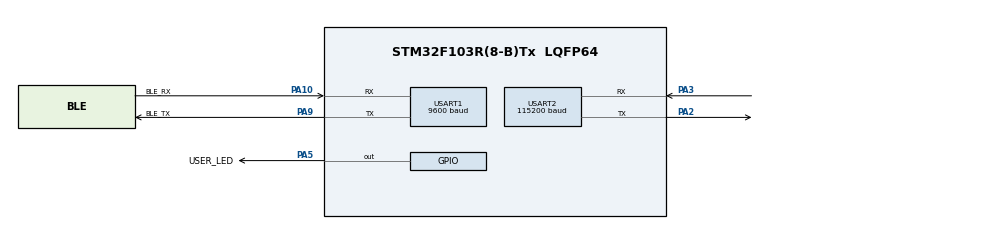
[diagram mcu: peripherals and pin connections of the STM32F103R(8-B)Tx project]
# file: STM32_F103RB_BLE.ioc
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Mcu.Family=STM32F1
Mcu.Name=STM32F103R(8-B)Tx
Mcu.Package=LQFP64
NVIC.PriorityGroup=NVIC_PRIORITYGROUP_4
NVIC.USART1_IRQn=true\:0\:0\:false\:false\:true\:true\:true\:true
NVIC.USART2_IRQn=true\:0\:0\:false\:false\:true\:true\:true\:true
PA10.GPIO_Label=BLE_RX
PA10.Mode=Asynchronous
PA10.Signal=USART1_RX
PA2.Mode=Asynchronous
PA2.Signal=USART2_TX
PA3.Mode=Asynchronous
PA3.Signal=USART2_RX
PA5.GPIO_Label=USER_LED
PA5.Signal=GPIO_Output
PA9.GPIO_Label=BLE_TX
PA9.Mode=Asynchronous
PA9.Signal=USART1_TX
ProjectManager.HeapSize=0x200
ProjectManager.StackSize=0x400
ProjectManager.TargetToolchain=STM32CubeIDE
RCC.APB1Freq_Value=8000000
RCC.APB2Freq_Value=8000000
USART1.BaudRate=9600
USART1.VirtualMode=VM_ASYNC
USART2.BaudRate=115200
USART2.VirtualMode=VM_ASYNC
VP_SYS_VS_ND.Mode=No_Debug
board=custom

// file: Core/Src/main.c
/* USER CODE BEGIN Header */
/**
  ******************************************************************************
  * @file           : main.c
  * @brief          : Main program body
  ******************************************************************************
  * @attention
  *
  * Copyright (c) 2024 STMicroelectronics.
  * All rights reserved.
  *
  * This software is licensed under terms that can be found in the LICENSE file
  * in the root directory of this software component.
  * If no LICENSE file comes with this software, it is provided AS-IS.
  *
  ******************************************************************************
  */
/* USER CODE END Header */
#include "main.h"
#include "usart.h"
#include "gpio.h"
/* USER CODE BEGIN Includes */
#include <stdio.h>
#include <stdlib.h>
#include <string.h>
/* USER CODE END Includes */

/* USER CODE BEGIN PD */
#define BUFFER_SIZE 100 // Define the size of the buffer
#define BLEBUF_SIZE 40 // Define the size of the buffer
/* USER CODE END PD */

/* USER CODE BEGIN PV */
static uint32_t gBLECnt 	= 0;       // Counter for BLE messages
static uint32_t gGPIOState 	= 0;       // State of the GPIO pin
uint8_t rxIndex 			= 0;       // Current index for the buffer
char rxBuffer[BUFFER_SIZE]; 		   // Buffer for received data
char messageBuffer[BLEBUF_SIZE];
uint32_t messageIndex = 0;
uint8_t bBLEFlag =0;
extern UART_HandleTypeDef huart1;
/* USER CODE END PV */

void SystemClock_Config(void);
/* USER CODE BEGIN PFP */
typedef struct UserInfo
{
    float fCurrent;
    uint32_t iDuty;
    uint32_t iFrequency;
} UserInfo;

UserInfo gUserInfo = {0.0,0,0};
/* USER CODE END PFP */

/* USER CODE BEGIN 0 */
UserInfo parseMessage(char *messageBuffer)
{
    // Find the first occurrence of 'S' and 'E'
    char *start = strchr(messageBuffer, 'S');
    char *end = strchr(messageBuffer, 'E');

    // 2024-10-28, hjkim: Initialize with existing values
    UserInfo tempInfo = gUserInfo;

    // Check if both 'S' and 'E' exist and their positions are valid
    bBLEFlag = (start != NULL && end != NULL && start < end) ? 1 : 0;

    if(bBLEFlag == 0)
    {
        // 2024-10-28, hjkim: BLE message parsing error, discarding this data
    	return tempInfo;
    }

    if (bBLEFlag == 1)
    {
        // Parse Current value between 'c' and 'c'
        char *startCurrent = strchr(start, 'c');
        char *endCurrent = strchr(startCurrent + 1, 'c');
        if (startCurrent != NULL && endCurrent != NULL && endCurrent < end)
        {
            char currentStr[10] = {0};
            strncpy(currentStr, startCurrent + 1, endCurrent - startCurrent - 1);
            tempInfo.fCurrent = atof(currentStr);
        }

        // Parse Duty Cycle value between 'd' and 'd'
        char *startDuty = strchr(start, 'd');
        char *endDuty = strchr(startDuty + 1, 'd');
        if (startDuty != NULL && endDuty != NULL && endDuty < end)
        {
            char dutyStr[10] = {0};
            strncpy(dutyStr, startDuty + 1, endDuty - startDuty - 1);
            tempInfo.iDuty = (uint32_t)atoi(dutyStr);
        }

        // Parse Frequency value between 'f' and 'f'
        char *startFreq = strchr(start, 'f');
        char *endFreq = strchr(startFreq + 1, 'f');
        if (startFreq != NULL && endFreq != NULL && endFreq < end)
        {
            char freqStr[10] = {0};
            strncpy(freqStr, startFreq + 1, endFreq - startFreq - 1);
            tempInfo.iFrequency = (uint32_t)atoi(freqStr);
        }
    }
    return tempInfo;
}

/* USER CODE END 0 */

int main(void)
{

  /* MCU Configuration--------------------------------------------------------*/

  /* Reset of all peripherals, Initializes the Flash interface and the Systick. */
  HAL_Init();

  /* Configure the system clock */
  SystemClock_Config();

  /* Initialize all configured peripherals */
  MX_GPIO_Init();
  MX_USART2_UART_Init();
  MX_USART1_UART_Init();
  /* USER CODE BEGIN 2 */
  HAL_UART_Receive_IT(&huart1, (uint8_t *)&rxBuffer[rxIndex], 1);
  HAL_GPIO_WritePin(USER_LED_GPIO_Port, USER_LED_Pin, GPIO_PIN_RESET);
  /* USER CODE END 2 */

  /* Infinite loop */
  while (1)
  {

      /* USER CODE BEGIN 3 */
	  gUserInfo = parseMessage(messageBuffer);

      switch (gGPIOState)
      {
          case 1:
              HAL_GPIO_WritePin(USER_LED_GPIO_Port, USER_LED_Pin, GPIO_PIN_RESET);
              break;
          case 2:
              HAL_GPIO_WritePin(USER_LED_GPIO_Port, USER_LED_Pin, GPIO_PIN_SET);
              break;
          default:
              break;
      }
      HAL_Delay(500);
  }
  /* USER CODE END 3 */
}

void SystemClock_Config(void)
{
  RCC_OscInitTypeDef RCC_OscInitStruct = {0};
  RCC_ClkInitTypeDef RCC_ClkInitStruct = {0};

  /** Initializes the RCC Oscillators according to the specified parameters
  * in the RCC_OscInitTypeDef structure.
  */
  RCC_OscInitStruct.OscillatorType = RCC_OSCILLATORTYPE_HSI;
  RCC_OscInitStruct.HSIState = RCC_HSI_ON;
  RCC_OscInitStruct.HSICalibrationValue = RCC_HSICALIBRATION_DEFAULT;
  RCC_OscInitStruct.PLL.PLLState = RCC_PLL_NONE;
  if (HAL_RCC_OscConfig(&RCC_OscInitStruct) != HAL_OK)
  {
    Error_Handler();
  }

  /** Initializes the CPU, AHB and APB buses clocks
  */
  RCC_ClkInitStruct.ClockType = RCC_CLOCKTYPE_HCLK|RCC_CLOCKTYPE_SYSCLK
                              |RCC_CLOCKTYPE_PCLK1|RCC_CLOCKTYPE_PCLK2;
  RCC_ClkInitStruct.SYSCLKSource = RCC_SYSCLKSOURCE_HSI;
  RCC_ClkInitStruct.AHBCLKDivider = RCC_SYSCLK_DIV1;
  RCC_ClkInitStruct.APB1CLKDivider = RCC_HCLK_DIV1;
  RCC_ClkInitStruct.APB2CLKDivider = RCC_HCLK_DIV1;

  if (HAL_RCC_ClockConfig(&RCC_ClkInitStruct, FLASH_LATENCY_0) != HAL_OK)
  {
    Error_Handler();
  }
}

/* USER CODE BEGIN 4 */
void HAL_UART_RxCpltCallback(UART_HandleTypeDef *huart)
{
    if (huart->Instance == USART1)
	{ 	// Check if it's the correct UART instance
        gBLECnt++;  // Increment the BLE counter

        // Process the received character
        switch (rxBuffer[rxIndex-1])
		{
            case '1':
                gGPIOState = 1;  // Set GPIO state to high
                HAL_GPIO_WritePin(USER_LED_GPIO_Port, USER_LED_Pin, GPIO_PIN_RESET);
                // Optionally, add code to toggle the GPIO pin here
                break;
            case '2':
                gGPIOState = 2;  // Set GPIO state to low
                HAL_GPIO_WritePin(USER_LED_GPIO_Port, USER_LED_Pin, GPIO_PIN_SET);
                // Optionally, add code to toggle the GPIO pin here
                break;
            default:
                // Handle unexpected messages if necessary
                break;
        }

        // Prepare to receive the next byte
        HAL_UART_Receive_IT(&huart1, (uint8_t *)&rxBuffer[rxIndex], 1);
        // Move to the next index, wrap around if necessary
        messageIndex = (rxBuffer[rxIndex-1] == 'S') ? 0 : messageIndex;
        messageBuffer[messageIndex] = rxBuffer[rxIndex-1];

        ++messageIndex;
        ++rxIndex;
		// 2024-10-27, hjkim: Reset indexes after reaching buffer size limit
		messageIndex= (messageIndex >= BLEBUF_SIZE) ? 0 : messageIndex;
		rxIndex		= (rxIndex >= BLEBUF_SIZE) 		? 0 : rxIndex;
    }
}
/* USER CODE END 4 */

void Error_Handler(void)
{
  __disable_irq();
  while (1)
  {
  }
}
